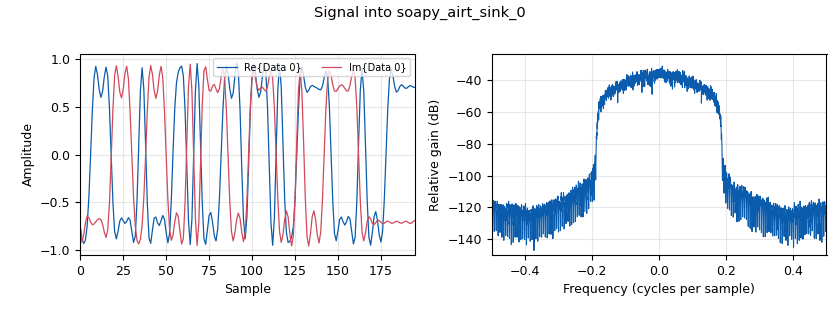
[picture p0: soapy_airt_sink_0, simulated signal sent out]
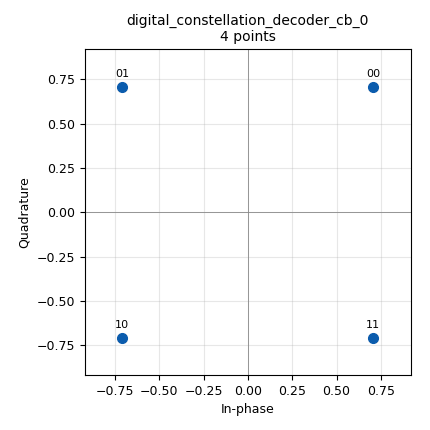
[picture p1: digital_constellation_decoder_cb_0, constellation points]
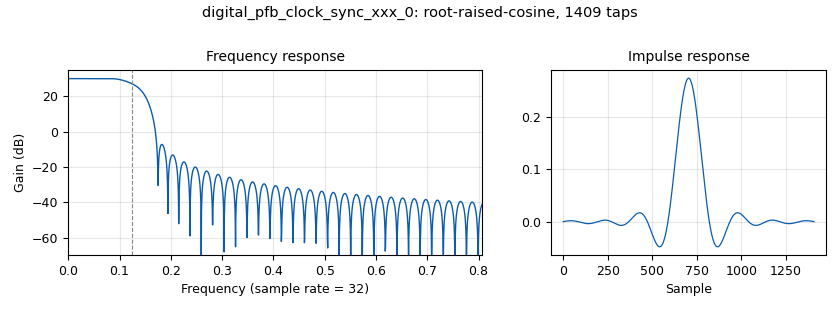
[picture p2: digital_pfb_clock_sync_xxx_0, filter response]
options:
  parameters:
    author: Deepwave Digital
    category: Custom
    generate_options: qt_gui
    id: Digital_Comms
    output_language: python
    title: QPSK Comms Example
  states: {}

blocks:
- name: access_key
  id: variable
  parameters:
    value: '''11100001010110101110100010010011'''
  states: {}
- name: base_adc_rate
  id: variable
  parameters:
    value: int(60e6)
  states: {}
- name: excess_bw
  id: variable
  parameters:
    value: '0.525'
  states: {state: disabled}
- name: excess_bw
  id: variable
  parameters:
    value: '0.5'
  states: {}
- name: hdr_format
  id: variable
  parameters:
    comment: header_format_default
    value: digital.header_format_default(access_key, 0)
  states: {}
- name: nfilts
  id: variable
  parameters:
    value: '32'
  states: {}
- name: noise_volt
  id: variable_qtgui_range
  parameters:
    comment: 0,0,1,1
    gui_hint: 0,0,1,1
    label: 'Channel: Noise Voltage'
    start: '0'
    step: '0.01'
    stop: '1'
    value: '0.2'
  states: {state: disabled}
- name: phase_bw
  id: variable
  parameters:
    value: '0.1'
  states: {state: disabled}
- name: phase_bw
  id: variable
  parameters:
    value: '0.0628'
  states: {}
- name: qpsk
  id: variable_constellation_rect
  parameters:
    const_points: '[0.707+0.707j, -0.707+0.707j, -0.707-0.707j, 0.707-0.707j]'
    imag_sect: '2'
    real_sect: '2'
    rot_sym: '4'
    sym_map: '[0, 1, 2, 3]'
    w_imag_sect: '1'
    w_real_sect: '1'
  states: {}
- name: rrc_taps
  id: variable
  parameters:
    value: firdes.root_raised_cosine(nfilts, nfilts, 1.0/float(sps), 0.35, 11*sps*nfilts)
  states: {}
- name: samp_rate
  id: variable
  parameters:
    value: '32000'
  states: {state: disabled}
- name: samp_rate
  id: variable
  parameters:
    value: base_adc_rate/32
  states: {}
- name: sps
  id: variable
  parameters:
    value: '4'
  states: {}
- name: time_offset
  id: variable_qtgui_range
  parameters:
    comment: 0,1,1,1
    gui_hint: 0,1,1,1
    label: 'Channel: Timing Offset'
    start: '0.999'
    step: '0.0001'
    stop: '1.001'
    value: '1.0005'
  states: {state: disabled}
- name: tx_gain
  id: variable_qtgui_range
  parameters:
    comment: 0,2,1,1
    gui_hint: 2,3,1,1
    label: Tx Gain
    start: '-50'
    step: '1'
    stop: '0'
    value: '-30'
  states: {}
- name: tx_gain
  id: variable_qtgui_entry
  parameters:
    gui_hint: 2,0,1,1
    label: tx gain
    type: real
    value: '-40'
  states: {state: disabled}
- name: variable_adaptive_algorithm
  id: variable_adaptive_algorithm
  parameters:
    cons: qpsk
    modulus: '4'
    step_size: '.0001'
    type: cma
  states: {}
- name: analog_random_uniform_source_x_0
  id: analog_random_uniform_source_x
  parameters:
    maximum: '64'
    minimum: '0'
    seed: '0'
    type: byte
  states: {}
- name: analog_random_uniform_source_x_0_0
  id: analog_random_uniform_source_x
  parameters:
    maximum: '16'
    minimum: '0'
    seed: '0'
    type: byte
  states: {state: disabled}
- name: blocks_file_source_0
  id: blocks_file_source
  parameters:
    file: /home/deepwave/test.bin
    repeat: 'True'
    type: byte
  states: {state: disabled}
- name: blocks_message_debug_0
  id: blocks_message_debug
  parameters: {}
  states: {state: disabled}
- name: blocks_message_strobe_0_0
  id: blocks_message_strobe
  parameters:
    msg: pmt.cons(pmt.PMT_NIL,pmt.init_u8vector(9,(1,2,3,4,5,6,7,8,9)))
    period: '10'
  states: {state: disabled}
- name: blocks_null_sink_0
  id: blocks_null_sink
  parameters:
    type: byte
  states: {state: disabled}
- name: blocks_repack_bits_bb_1_0
  id: blocks_repack_bits_bb
  parameters:
    comment: MSB
    endianness: gr.GR_MSB_FIRST
    k: '1'
    l: '2'
    len_tag_key: '"packet_len"'
  states: {state: disabled}
- name: blocks_stream_to_tagged_stream_0
  id: blocks_stream_to_tagged_stream
  parameters:
    len_tag_key: '"packet_len"'
    packet_len: '256'
    type: byte
  states: {}
- name: blocks_tagged_stream_mux_0
  id: blocks_tagged_stream_mux
  parameters:
    lengthtagname: packet_len
    ninputs: '2'
    type: byte
  states: {state: disabled}
- name: blocks_tagged_stream_mux_1
  id: blocks_tagged_stream_mux
  parameters:
    comment: Payload and Header
    lengthtagname: '"packet_len"'
    ninputs: '2'
    type: byte
  states: {}
- name: blocks_throttle_0
  id: blocks_throttle
  parameters:
    samples_per_second: samp_rate
    type: complex
  states: {state: disabled}
- name: blocks_uchar_to_float_0_0
  id: blocks_uchar_to_float
  parameters: {}
  states: {state: disabled}
- name: blocks_uchar_to_float_0_0_0
  id: blocks_uchar_to_float
  parameters: {}
  states: {}
- name: blocks_unpack_k_bits_bb_0_0_0
  id: blocks_unpack_k_bits_bb
  parameters:
    k: '2'
  states: {}
- name: blocks_vector_source_x_0
  id: blocks_vector_source_x
  parameters:
    repeat: 'True'
    type: byte
    vector: (1, 2, 3, 4, 5, 6, 7, 8, 9, 10, 11, 12, 13, 14, 15, 16, 17, 18, 19, 20, 21, 22, 23, 24, 25)
  states: {state: disabled}
- name: blocks_vector_source_x_1
  id: blocks_vector_source_x
  parameters:
    repeat: 'True'
    type: byte
    vector: (15, 14, 13, 12, 11, 10, 9)
  states: {state: disabled}
- name: channels_channel_model_0
  id: channels_channel_model
  parameters:
    comment: Epsilon is the time offset
    epsilon: time_offset
    freq_offset: freq_offset
    noise_voltage: noise_volt
    seed: '0'
    taps: '1'
  states: {state: disabled}
- name: digital_constellation_decoder_cb_0
  id: digital_constellation_decoder_cb
  parameters:
    constellation: qpsk
  states: {}
- name: digital_constellation_modulator_0
  id: digital_constellation_modulator
  parameters:
    constellation: qpsk
    differential: 'True'
    excess_bw: excess_bw
    samples_per_symbol: sps
  states: {}
- name: digital_correlate_access_code_xx_ts_0
  id: digital_correlate_access_code_xx_ts
  parameters:
    access_code: access_key
    tagname: packet_len
    threshold: '1'
    type: byte
  states: {}
- name: digital_costas_loop_cc_0
  id: digital_costas_loop_cc
  parameters:
    order: '4'
    w: phase_bw
  states: {}
- name: digital_crc32_bb_1
  id: digital_crc32_bb
  parameters:
    check: 'True'
    lengthtagname: '"packet_len"'
    packed: 'True'
  states: {state: disabled}
- name: digital_diff_decoder_bb_0
  id: digital_diff_decoder_bb
  parameters:
    coding: digital.DIFF_DIFFERENTIAL
    modulus: '4'
  states: {}
- name: digital_linear_equalizer_0
  id: digital_linear_equalizer
  parameters:
    alg: variable_adaptive_algorithm
    num_taps: '15'
    sps: '2'
  states: {}
- name: digital_map_bb_0
  id: digital_map_bb
  parameters:
    map: '[0,1,2,3]'
  states: {}
- name: digital_pfb_clock_sync_xxx_0
  id: digital_pfb_clock_sync_xxx
  parameters:
    filter_size: nfilts
    init_phase: nfilts/2
    loop_bw: phase_bw
    max_dev: '1.5'
    osps: '2'
    sps: sps
    taps: rrc_taps
    type: ccf
  states: {}
- name: digital_protocol_formatter_async_0
  id: digital_protocol_formatter_async
  parameters:
    format: hdr_format
  states: {state: disabled}
- name: digital_protocol_formatter_bb_0
  id: digital_protocol_formatter_bb
  parameters:
    format: hdr_format
    len_tag_key: '"packet_len"'
  states: {}
- name: digital_symbol_sync_xx_0
  id: digital_symbol_sync_xx
  parameters:
    damping: '1.0'
    loop_bw: '0.045'
    max_dev: '1.5'
    nfilters: '32'
    osps: '2'
    pfb_mf_taps: rrc_taps
    resamp_type: digital.IR_PFB_MF
    sps: sps
    ted_gain: '1.0'
    ted_type: digital.TED_SIGNAL_TIMES_SLOPE_ML
    type: cc
  states: {state: disabled}
- name: pdu_pdu_to_tagged_stream_0_0
  id: pdu_pdu_to_tagged_stream
  parameters:
    comment: Payload
    tag: packet_len
    type: byte
  states: {state: disabled}
- name: pdu_pdu_to_tagged_stream_0_1
  id: pdu_pdu_to_tagged_stream
  parameters:
    comment: Header
    tag: packet_len
    type: byte
  states: {state: disabled}
- name: pdu_tagged_stream_to_pdu_0_0
  id: pdu_tagged_stream_to_pdu
  parameters:
    tag: packet_len
    type: byte
  states: {state: disabled}
- name: qtgui_const_sink_x_0
  id: qtgui_const_sink_x
  parameters:
    comment: 2,0,1,2
    gui_hint: 0,0,2,2
    name: Received Constellation
    size: '1024'
    type: complex
  states: {}
- name: qtgui_freq_sink_x_0
  id: qtgui_freq_sink_x
  parameters:
    average: '0.1'
    bw: samp_rate
    color1: '"black"'
    comment: 1,1,2,1
    fc: '0'
    fftsize: '4096'
    gui_hint: 2,1,1,2
    label1: AIR-T Rx
    label2: AIR-T Tx
    name: AIR-T Frequency Spectrum
    nconnections: '2'
    type: complex
  states: {}
- name: qtgui_time_sink_x_0_2
  id: qtgui_time_sink_x
  parameters:
    comment: 1,0,1,2
    gui_hint: 1,0,1,2
    label1: ''
    name: Correlate input
    size: '256'
    srate: samp_rate
    tr_delay: '0.0'
    tr_level: '0.2'
    tr_tag: '"packet_len"'
    type: float
    ymax: '1.1'
    ymin: '-0.1'
  states: {state: disabled}
- name: qtgui_time_sink_x_0_2_0
  id: qtgui_time_sink_x
  parameters:
    comment: 0,1,2,1
    gui_hint: 0,2,2,2
    label1: ''
    name: Decoded Packets
    size: '64'
    srate: samp_rate
    tr_delay: '0.0'
    tr_level: '0.2'
    tr_tag: '"packet_len"'
    type: float
    ymax: '1.1'
    ymin: '-0.1'
  states: {}
- name: soapy_airt_sink_0
  id: soapy_airt_sink
  parameters:
    affinity: '2'
    center_freq: 2400e6
    comment: AIR-T Tx
    dev_args: f"master_clock_rate={base_adc_rate:.3f}"
    gain0: tx_gain
    gain1: '0'
    min_buff_size: '65536'
    nchan: '1'
    samp_rate0: samp_rate
    samp_rate1: '0'
    stream_args: ''
    type: fc32
  states: {}
- name: soapy_airt_source_0
  id: soapy_airt_source
  parameters:
    affinity: '3'
    agc: 'True'
    center_freq: 2400e6
    comment: AIR-T Rx
    dev_args: f"master_clock_rate={base_adc_rate:.3f}"
    gain0: '-5'
    gain1: '0'
    minoutbuf: '128000'
    nchan: '1'
    samp_rate0: samp_rate
    samp_rate1: '0'
    type: fc32
  states: {}
- name: virtual_sink_0
  id: virtual_sink
  parameters:
    stream_id: rx_filt
  states: {}
- name: virtual_sink_1
  id: virtual_sink
  parameters:
    stream_id: rx_decode
  states: {}
- name: virtual_sink_1_0_0
  id: virtual_sink
  parameters:
    stream_id: freq_sink1
  states: {}
- name: virtual_sink_1_0_0_0
  id: virtual_sink
  parameters:
    stream_id: freq_sink0
  states: {}
- name: virtual_sink_3
  id: virtual_sink
  parameters:
    stream_id: packet_source
  states: {}
- name: virtual_source_0
  id: virtual_source
  parameters:
    stream_id: rx_filt
  states: {}
- name: virtual_source_1
  id: virtual_source
  parameters:
    stream_id: rx_decode
  states: {}
- name: virtual_source_3
  id: virtual_source
  parameters:
    stream_id: packet_source
  states: {}
- name: virtual_source_3_0
  id: virtual_source
  parameters:
    stream_id: freq_sink1
  states: {}
- name: virtual_source_3_0_0
  id: virtual_source
  parameters:
    stream_id: freq_sink0
  states: {}

connections:
- [analog_random_uniform_source_x_0, '0', blocks_stream_to_tagged_stream_0, '0']
- [analog_random_uniform_source_x_0_0, '0', blocks_stream_to_tagged_stream_0, '0']
- [blocks_message_strobe_0_0, strobe, digital_protocol_formatter_async_0, in]
- [blocks_repack_bits_bb_1_0, '0', digital_crc32_bb_1, '0']
- [blocks_stream_to_tagged_stream_0, '0', blocks_tagged_stream_mux_1, '1']
- [blocks_stream_to_tagged_stream_0, '0', digital_protocol_formatter_bb_0, '0']
- [blocks_tagged_stream_mux_0, '0', virtual_sink_3, '0']
- [blocks_tagged_stream_mux_1, '0', blocks_null_sink_0, '0']
- [blocks_tagged_stream_mux_1, '0', virtual_sink_3, '0']
- [blocks_throttle_0, '0', channels_channel_model_0, '0']
- [blocks_uchar_to_float_0_0, '0', qtgui_time_sink_x_0_2, '0']
- [blocks_uchar_to_float_0_0_0, '0', qtgui_time_sink_x_0_2_0, '0']
- [blocks_unpack_k_bits_bb_0_0_0, '0', blocks_uchar_to_float_0_0, '0']
- [blocks_unpack_k_bits_bb_0_0_0, '0', digital_correlate_access_code_xx_ts_0, '0']
- [channels_channel_model_0, '0', digital_pfb_clock_sync_xxx_0, '0']
- [digital_constellation_decoder_cb_0, '0', digital_diff_decoder_bb_0, '0']
- [digital_constellation_modulator_0, '0', blocks_throttle_0, '0']
- [digital_constellation_modulator_0, '0', soapy_airt_sink_0, '0']
- [digital_constellation_modulator_0, '0', virtual_sink_1_0_0, '0']
- [digital_correlate_access_code_xx_ts_0, '0', blocks_repack_bits_bb_1_0, '0']
- [digital_correlate_access_code_xx_ts_0, '0', blocks_uchar_to_float_0_0_0, '0']
- [digital_costas_loop_cc_0, '0', digital_constellation_decoder_cb_0, '0']
- [digital_costas_loop_cc_0, '0', qtgui_const_sink_x_0, '0']
- [digital_crc32_bb_1, '0', pdu_tagged_stream_to_pdu_0_0, '0']
- [digital_diff_decoder_bb_0, '0', digital_map_bb_0, '0']
- [digital_linear_equalizer_0, '0', virtual_sink_0, '0']
- [digital_map_bb_0, '0', virtual_sink_1, '0']
- [digital_pfb_clock_sync_xxx_0, '0', digital_linear_equalizer_0, '0']
- [digital_protocol_formatter_async_0, header, pdu_pdu_to_tagged_stream_0_1, pdus]
- [digital_protocol_formatter_async_0, payload, pdu_pdu_to_tagged_stream_0_0, pdus]
- [digital_protocol_formatter_bb_0, '0', blocks_tagged_stream_mux_1, '0']
- [digital_symbol_sync_xx_0, '0', digital_linear_equalizer_0, '0']
- [pdu_pdu_to_tagged_stream_0_0, '0', blocks_tagged_stream_mux_0, '1']
- [pdu_pdu_to_tagged_stream_0_1, '0', blocks_tagged_stream_mux_0, '0']
- [pdu_tagged_stream_to_pdu_0_0, pdus, blocks_message_debug_0, print]
- [soapy_airt_source_0, '0', digital_pfb_clock_sync_xxx_0, '0']
- [soapy_airt_source_0, '0', digital_symbol_sync_xx_0, '0']
- [soapy_airt_source_0, '0', virtual_sink_1_0_0_0, '0']
- [virtual_source_0, '0', digital_costas_loop_cc_0, '0']
- [virtual_source_1, '0', blocks_unpack_k_bits_bb_0_0_0, '0']
- [virtual_source_3, '0', digital_constellation_modulator_0, '0']
- [virtual_source_3_0, '0', qtgui_freq_sink_x_0, '1']
- [virtual_source_3_0_0, '0', qtgui_freq_sink_x_0, '0']

metadata:
  file_format: 1
